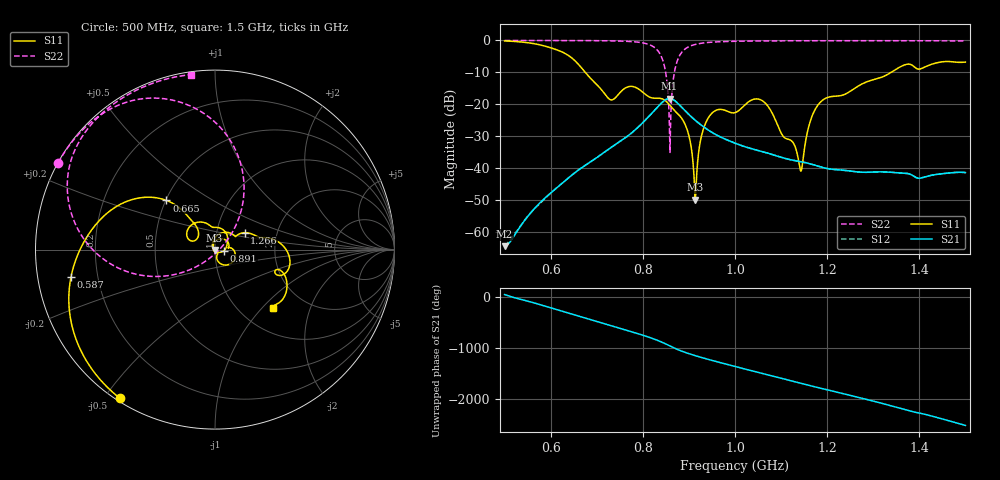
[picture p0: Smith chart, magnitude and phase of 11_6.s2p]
! TOUCHSTONE file generated by CST MICROWAVE STUDIO
! Date and time: Fri Oct  2 18:56:02 2020
! Project name: Scenario_1_Free_Space_out_of_line.cst
! Parameters = {Lambda=346.42; Step_1=17.321; dy1=174.23; dx1=1039; L_HA=400; MT=2.54; Rad_Dielectric=30; Rad_Lower=7.3; Rad_Upper=30; a_HA=580; a_WG=246; b_HA=500; b_WG=121; c_HA=0; c_WG=187; d_feed=85; h_feed=15; h_lower=18; h_upper=40}
! Header version: 2018
! Port assignment regex: !\s*Touchstone port\s*([0-9]+)\s*=\s*(CST MWS port|CST DS port)\s*([0-9]+|Zmin|Zmax)\s*\(\"(.*)\"\)(\s*mode\s*([0-9]+))?.*
! Touchstone port assignment:
! Touchstone port 1 = CST MWS port 1 ("")
! Touchstone port 2 = CST MWS port 2 ("")
# GHz S DB R 50
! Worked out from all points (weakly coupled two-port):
!   1003 points, 500 MHz to 1.5 GHz, reference 50 ohm
!   highest |S21| = -18.24 dB at 858 MHz (marker M1); lowest = -64.5 dB at 500 MHz (marker M2)
!   lowest |S11| = -50.0 dB at 914 MHz (marker M3), VSWR 1.01, Z = 49.7 - j0.159 ohm
!   |S11| at or under -10 dB: 674.9 MHz to 1.339 GHz (663.9 MHz wide, 65.9 % of centre)
!   |S22| runs from -35.1 to 0.0 dB; largest |S21 - S12| = 0.00021
!   S11 on the Smith chart (normalised r, x): 500 MHz: 0.01, -0.55; 587 MHz: 0.10, -0.09; 665 MHz: 0.50, +0.32; 891 MHz: 1.10, -0.02; 1.266 GHz: 1.36, +0.27; 1.5 GHz: 1.40, -1.15
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0.5  -0.15 -122.6  -64.55 42.7  -64.55 42.7  -0.01 151.1
0.587  -1.76 -169.2  -49.52 178.4  -49.67 178.1  -0.02 145.1
0.665  -8.29 134.6  -40.16 -30.1  -40.16 -30.1  -0.04 138.5
0.667  -8.63 133.7  -39.96 -35.5  -39.96 -35.5  -0.04 138.3
0.729  -18.55 142.8  -33.79 160.4  -33.78 160.4  -0.12 130.9
0.774  -14.41 138.0  -29.22 40.9  -29.22 40.9  -0.34 122.0
0.834  -18.12 83.3  -20.57 -139.1  -20.57 -139.1  -3.49 86.5
0.848  -18.80 60.7  -18.73 166.0  -18.73 166.0  -8.84 63.4
0.858  -20.24 44.1  -18.24 122.7  -18.23 122.7  -29.12 17.0
0.871  -22.33 26.9  -19.10 67.5  -19.10 67.5  -8.26 -157.3
0.891  -26.12 -8.1  -21.97 -3.6  -21.97 -3.6  -2.75 175.8
0.914  -49.97 -149.7  -25.09 -70.7  -25.09 -70.7  -1.24 160.8
0.927  -30.13 104.9  -26.60 -105.2  -26.60 -105.2  -0.88 155.6
0.942  -24.30 71.7  -28.13 -143.0  -28.13 -143.0  -0.63 151.1
1  -22.66 7.5  -32.22 79.1  -32.22 79.1  -0.26 140.2
1.063  -19.31 -52.1  -35.02 -66.7  -35.02 -66.7  -0.15 133.1
1.127  -32.29 -62.2  -37.62 147.7  -37.62 147.7  -0.11 127.4
1.142  -40.80 -134.8  -38.01 113.7  -38.02 113.7  -0.10 126.1
1.167  -23.86 91.3  -38.88 56.0  -38.88 56.0  -0.10 124.1
1.266  -14.44 29.8  -41.26 -161.1  -41.26 -161.1  -0.08 116.6
1.334  -10.43 12.6  -41.32 43.3  -41.32 43.3  -0.09 111.4
1.5  -6.80 -45.1  -41.45 8.0  -41.47 8.0  -0.14 97.9
